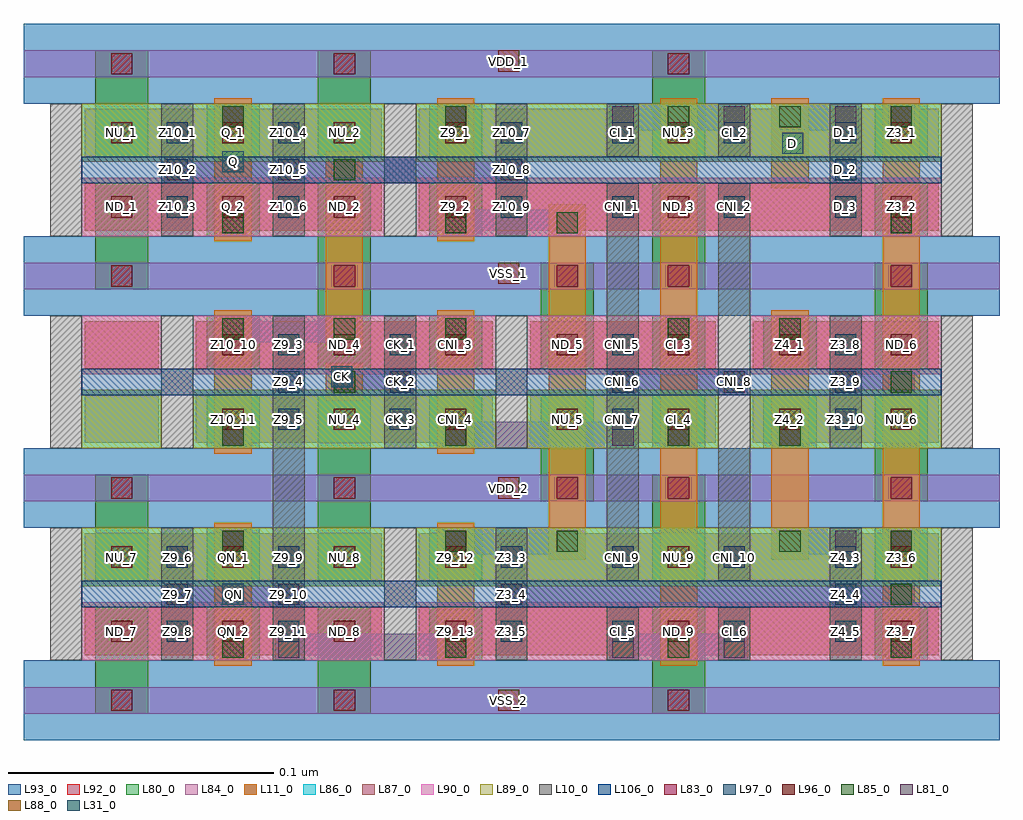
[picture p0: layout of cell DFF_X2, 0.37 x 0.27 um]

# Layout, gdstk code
import gdstk
lib = gdstk.Library(unit=1e-6, precision=1e-09)
def R(c, l, rs):  # rectangles x0, y0, x1, y1
    for r in rs: c.add(gdstk.rectangle(r[:2], r[2:], *l))
def A(c, l, x, y, w, h, nx, ny, dx, dy):  # array of equal rectangles
    R(c, l, [(x+i*dx, y+j*dy, x+i*dx+w, y+j*dy+h) for i in range(nx) for j in range(ny)])
L10_0 = (10, 0)
L11_0 = (11, 0)
L31_0 = (31, 0)
L80_0 = (80, 0)
L81_0 = (81, 0)
L83_0 = (83, 0)
L84_0 = (84, 0)
L85_0 = (85, 0)
L86_0 = (86, 0)
L87_0 = (87, 0)
L88_0 = (88, 0)
L89_0 = (89, 0)
L90_0 = (90, 0)
L92_0 = (92, 0)
L93_0 = (93, 0)
L96_0 = (96, 0)
L97_0 = (97, 0)
L106_0 = (106, 0)

dff_x2 = lib.new_cell('DFF_X2')
A(dff_x2, L10_0, 0.267, -0.145, 0.012, 0.05, 1, 3, 0, 0.08)
A(dff_x2, L10_0, 0.309, -0.145, 0.012, 0.05, 1, 3, 0, 0.08)
A(dff_x2, L10_0, -0.027, 0.015, 0.012, 0.05, 5, 1, 0.042, 0)
R(dff_x2, L10_0, [(-0.027,-0.145,-0.015,-0.095), (0.015,-0.145,0.027,-0.095), (0.057,-0.145,0.069,-0.015), (0.099,-0.145,0.111,-0.095), (0.141,-0.145,0.153,-0.095), (0.183,-0.145,0.195,-0.125), (0.225,-0.145,0.237,-0.125), (0.183,-0.115,0.195,0.035), (0.225,-0.115,0.237,0.035), (-0.027,-0.065,-0.015,-0.015), (0.015,-0.065,0.027,-0.015), (0.099,-0.065,0.111,-0.015), (0.141,-0.065,0.153,-0.015), (0.183,0.045,0.195,0.065), (0.225,0.045,0.237,0.065)])
A(dff_x2, L11_0, 0.035, -0.147, 0.014, 0.034, 4, 2, 0.084, 0.02)
A(dff_x2, L11_0, 0.161, -0.107, 0.014, 0.034, 4, 2, 0.042, 0.02)
A(dff_x2, L11_0, 0.119, -0.067, 0.014, 0.034, 5, 2, 0.042, 0.02)
A(dff_x2, L11_0, 0.203, -0.027, 0.014, 0.034, 1, 3, 0, 0.02)
A(dff_x2, L11_0, 0.287, -0.027, 0.014, 0.034, 1, 4, 0, 0.02)
A(dff_x2, L11_0, 0.035, 0.013, 0.014, 0.034, 3, 1, 0.042, 0)
A(dff_x2, L11_0, 0.035, 0.033, 0.014, 0.034, 3, 1, 0.084, 0)
R(dff_x2, L11_0, [(0.035,-0.067,0.049,-0.033), (0.035,-0.047,0.049,-0.013), (0.077,-0.047,0.091,-0.033), (0.077,-0.027,0.091,0.007), (0.161,-0.027,0.175,0.007), (0.077,-0.007,0.091,0.027), (0.161,-0.007,0.175,0.027), (0.245,0.033,0.259,0.067)])
R(dff_x2, L31_0, [(0.038,-0.124,0.046,-0.116), (0.079,-0.042,0.087,-0.034), (0.038,0.039,0.046,0.047), (0.249,0.046,0.257,0.054)])
A(dff_x2, L80_0, 0.074, -0.165, 0.02, 0.021, 1, 3, 0, 0.08)
A(dff_x2, L80_0, -0.01, -0.145, 0.02, 0.02, 4, 2, 0.042, 0.16)
A(dff_x2, L80_0, 0.074, -0.104, 0.02, 0.029, 1, 3, 0, 0.08)
A(dff_x2, L80_0, 0.032, -0.065, 0.02, 0.02, 7, 1, 0.042, 0)
R(dff_x2, L80_0, [(-0.01,-0.165,0.01,-0.144), (0.2,-0.165,0.22,-0.144), (0.2,-0.145,0.22,-0.125), (0.284,-0.145,0.304,-0.125), (-0.01,-0.115,0.01,-0.095), (-0.01,-0.115,0.01,-0.095), (0.032,-0.115,0.052,-0.095), (0.032,-0.115,0.052,-0.095), (0.074,-0.115,0.094,-0.095), (0.074,-0.115,0.094,-0.095), (0.116,-0.115,0.136,-0.095), (0.116,-0.115,0.136,-0.095), (0.2,-0.115,0.22,-0.095), (0.2,-0.115,0.22,-0.095), (0.284,-0.115,0.304,-0.095), (0.284,-0.115,0.304,-0.095), (-0.01,-0.104,0.01,-0.075), (0.2,-0.104,0.22,-0.075), (0.158,-0.085,0.178,-0.064), (0.284,-0.085,0.304,-0.064), (0.032,-0.035,0.052,-0.015), (0.032,-0.035,0.052,-0.015), (0.074,-0.035,0.094,-0.015), (0.074,-0.035,0.094,-0.015), (0.116,-0.035,0.136,-0.015), (0.116,-0.035,0.136,-0.015), (0.158,-0.035,0.178,-0.015), (0.158,-0.035,0.178,-0.015), (0.2,-0.035,0.22,-0.015), (0.2,-0.035,0.22,-0.015), (0.242,-0.035,0.262,-0.015), (0.242,-0.035,0.262,-0.015), (0.284,-0.035,0.304,-0.015), (0.284,-0.035,0.304,-0.015), (0.158,-0.024,0.178,0.005), (0.284,-0.024,0.304,0.005), (-0.01,-0.005,0.01,0.016), (0.2,-0.005,0.22,0.016), (0.2,0.015,0.22,0.035), (0.284,0.015,0.304,0.035), (-0.01,0.045,0.01,0.065), (-0.01,0.045,0.01,0.065), (0.032,0.045,0.052,0.065), (0.032,0.045,0.052,0.065), (0.074,0.045,0.094,0.065), (0.074,0.045,0.094,0.065), (0.116,0.045,0.136,0.065), (0.116,0.045,0.136,0.065), (0.2,0.045,0.22,0.065), (0.2,0.045,0.22,0.065), (0.284,0.045,0.304,0.065), (0.284,0.045,0.304,0.065), (-0.01,0.056,0.01,0.085), (0.2,0.056,0.22,0.085)])
A(dff_x2, L81_0, 0.185, -0.044, 0.008, 0.008, 3, 2, 0.042, 0.1)
R(dff_x2, L81_0, [(0.059,-0.144,0.067,-0.136), (0.185,-0.144,0.193,-0.136), (0.227,-0.144,0.235,-0.136), (0.017,-0.124,0.025,-0.116), (0.059,-0.124,0.067,-0.116), (0.143,-0.124,0.151,-0.116), (0.269,-0.104,0.277,-0.096), (0.185,-0.064,0.193,-0.056), (0.101,-0.044,0.109,-0.036), (0.017,0.036,0.025,0.044), (0.017,0.036,0.025,0.044), (0.059,0.036,0.067,0.044), (0.059,0.036,0.067,0.044), (0.143,0.036,0.151,0.044)])
A(dff_x2, L83_0, -0.004, -0.164, 0.008, 0.008, 1, 4, 0, 0.08)
A(dff_x2, L83_0, 0.206, -0.164, 0.008, 0.008, 1, 4, 0, 0.08)
A(dff_x2, L83_0, 0.038, -0.064, 0.008, 0.008, 3, 2, 0.084, 0.04)
R(dff_x2, L83_0, [(0.08,-0.164,0.088,-0.156), (0.038,-0.144,0.046,-0.136), (0.122,-0.144,0.13,-0.136), (0.29,-0.144,0.298,-0.136), (0.038,-0.104,0.046,-0.096), (0.122,-0.104,0.13,-0.096), (0.29,-0.104,0.298,-0.096), (0.08,-0.084,0.088,-0.076), (0.08,-0.084,0.088,-0.076), (0.164,-0.084,0.172,-0.076), (0.29,-0.084,0.298,-0.076), (0.248,-0.064,0.256,-0.056), (0.038,-0.024,0.046,-0.016), (0.248,-0.024,0.256,-0.016), (0.08,-0.004,0.088,0.004), (0.08,-0.004,0.088,0.004), (0.164,-0.004,0.172,0.004), (0.29,-0.004,0.298,0.004), (0.038,0.016,0.046,0.024), (0.038,0.016,0.046,0.024), (0.122,0.016,0.13,0.024), (0.29,0.016,0.298,0.024), (0.038,0.056,0.046,0.064), (0.038,0.056,0.046,0.064), (0.038,0.056,0.046,0.064), (0.038,0.056,0.046,0.064), (0.038,0.056,0.046,0.064), (0.038,0.056,0.046,0.064), (0.038,0.056,0.046,0.064), (0.122,0.056,0.13,0.064), (0.29,0.056,0.298,0.064), (0.08,0.076,0.088,0.084)])
A(dff_x2, L84_0, -0.037, -0.165, 0.368, 0.01, 1, 4, 0, 0.08)
A(dff_x2, L84_0, 0.037, -0.145, 0.01, 0.01, 1, 3, 0, 0.04)
A(dff_x2, L84_0, 0.058, -0.145, 0.031, 0.01, 3, 1, 0.021, 0)
A(dff_x2, L84_0, 0.142, -0.125, 0.031, 0.01, 7, 1, 0.021, 0)
A(dff_x2, L84_0, 0.121, -0.065, 0.031, 0.01, 3, 1, 0.021, 0)
A(dff_x2, L84_0, 0.016, 0.035, 0.031, 0.01, 6, 1, 0.021, 0)
R(dff_x2, L84_0, [(0.184,-0.145,0.215,-0.135), (0.205,-0.145,0.236,-0.135), (0.289,-0.145,0.299,-0.135), (0.016,-0.125,0.047,-0.115), (0.037,-0.125,0.068,-0.115), (0.121,-0.105,0.152,-0.095), (0.142,-0.105,0.173,-0.095), (0.247,-0.105,0.278,-0.095), (0.289,-0.105,0.299,-0.095), (0.205,-0.065,0.215,-0.055), (0.247,-0.065,0.257,-0.055), (0.079,-0.045,0.11,-0.035), (0.184,-0.045,0.236,-0.035), (0.268,-0.045,0.299,-0.035), (0.037,-0.025,0.068,-0.015), (0.058,-0.025,0.089,-0.015), (0.121,-0.025,0.131,-0.015), (0.205,-0.025,0.215,-0.015), (0.247,-0.025,0.257,-0.015), (0.037,0.015,0.047,0.025), (0.121,0.015,0.152,0.025), (0.142,0.015,0.173,0.025), (0.289,0.015,0.299,0.025), (0.037,0.055,0.047,0.065), (0.121,0.055,0.131,0.065), (0.184,0.055,0.215,0.065), (0.205,0.055,0.236,0.065), (0.247,0.055,0.278,0.065), (0.289,0.055,0.299,0.065)])
A(dff_x2, L85_0, 0.038, -0.144, 0.008, 0.008, 4, 1, 0.084, 0)
A(dff_x2, L85_0, 0.248, -0.104, 0.008, 0.008, 1, 3, 0, 0.04)
A(dff_x2, L85_0, 0.29, -0.104, 0.008, 0.008, 1, 3, 0, 0.06)
A(dff_x2, L85_0, 0.038, -0.064, 0.008, 0.008, 3, 2, 0.084, 0.12)
A(dff_x2, L85_0, 0.038, -0.024, 0.008, 0.008, 3, 1, 0.042, 0)
R(dff_x2, L85_0, [(0.29,-0.124,0.298,-0.116), (0.038,-0.104,0.046,-0.096), (0.122,-0.104,0.13,-0.096), (0.164,-0.104,0.172,-0.096), (0.08,-0.044,0.088,-0.036), (0.206,-0.024,0.214,-0.016), (0.038,0.016,0.046,0.024), (0.122,0.016,0.13,0.024), (0.164,0.016,0.172,0.024), (0.08,0.036,0.088,0.044), (0.248,0.056,0.256,0.064), (0.29,0.056,0.298,0.064)])
R(dff_x2, L86_0, [(-0.015,-0.117,0.099,-0.095), (0.111,-0.117,0.309,-0.095), (-0.015,-0.065,0.015,-0.043), (0.027,-0.065,0.141,-0.043), (0.153,-0.065,0.225,-0.043), (0.237,-0.065,0.309,-0.043), (-0.015,0.043,0.099,0.065), (0.111,0.043,0.309,0.065)])
R(dff_x2, L87_0, [(-0.015,-0.145,0.099,-0.123), (0.111,-0.145,0.309,-0.123), (-0.015,-0.037,0.015,-0.015), (0.027,-0.037,0.141,-0.015), (0.153,-0.037,0.225,-0.015), (0.237,-0.037,0.309,-0.015), (-0.015,0.015,0.099,0.037), (0.111,0.015,0.309,0.037)])
R(dff_x2, L88_0, [(0.142,-0.164,0.15,-0.156), (0.142,-0.084,0.15,-0.076), (0.142,-0.003,0.15,0.005), (0.142,0.077,0.15,0.085)])
R(dff_x2, L89_0, [(-0.015,-0.117,0.099,-0.095), (0.111,-0.117,0.309,-0.095), (-0.015,-0.065,0.015,-0.043), (0.027,-0.065,0.141,-0.043), (0.153,-0.065,0.225,-0.043), (0.237,-0.065,0.309,-0.043), (-0.015,0.043,0.099,0.065), (0.111,0.043,0.309,0.065)])
R(dff_x2, L90_0, [(-0.015,-0.145,0.099,-0.123), (0.111,-0.145,0.309,-0.123), (-0.015,-0.037,0.015,-0.015), (0.027,-0.037,0.141,-0.015), (0.153,-0.037,0.225,-0.015), (0.237,-0.037,0.309,-0.015), (-0.015,0.015,0.099,0.037), (0.111,0.015,0.309,0.037)])
R(dff_x2, L92_0, [(-0.014,-0.143,0.098,-0.125), (0.112,-0.143,0.308,-0.125), (-0.014,-0.115,0.098,-0.097), (0.112,-0.115,0.308,-0.097), (-0.014,-0.063,0.014,-0.045), (0.028,-0.063,0.14,-0.045), (0.154,-0.063,0.224,-0.045), (0.238,-0.063,0.308,-0.045), (-0.014,-0.035,0.014,-0.017), (0.028,-0.035,0.14,-0.017), (0.154,-0.035,0.224,-0.017), (0.238,-0.035,0.308,-0.017), (-0.014,0.017,0.098,0.035), (0.112,0.017,0.308,0.035), (-0.014,0.045,0.098,0.063), (0.112,0.045,0.308,0.063)])
A(dff_x2, L93_0, -0.037, -0.175, 0.368, 0.03, 1, 4, 0, 0.08)
A(dff_x2, L96_0, -0.004, -0.138, 0.008, 0.008, 4, 2, 0.042, 0.028)
A(dff_x2, L96_0, 0.038, -0.058, 0.008, 0.008, 7, 2, 0.042, 0.028)
A(dff_x2, L96_0, -0.004, 0.022, 0.008, 0.008, 4, 2, 0.042, 0.028)
R(dff_x2, L96_0, [(0.206,-0.138,0.214,-0.13), (0.29,-0.138,0.298,-0.13), (0.206,-0.11,0.214,-0.102), (0.29,-0.11,0.298,-0.102), (0.206,0.022,0.214,0.03), (0.29,0.022,0.298,0.03), (0.206,0.05,0.214,0.058), (0.29,0.05,0.298,0.058)])
A(dff_x2, L97_0, 0.017, -0.138, 0.008, 0.008, 1, 3, 0, 0.014)
A(dff_x2, L97_0, 0.059, -0.138, 0.008, 0.008, 1, 3, 0, 0.014)
A(dff_x2, L97_0, 0.143, -0.138, 0.008, 0.008, 4, 2, 0.042, 0.028)
A(dff_x2, L97_0, 0.059, -0.058, 0.008, 0.008, 1, 3, 0, 0.014)
A(dff_x2, L97_0, 0.101, -0.058, 0.008, 0.008, 3, 2, 0.084, 0.028)
A(dff_x2, L97_0, 0.185, -0.044, 0.008, 0.008, 3, 1, 0.042, 0)
A(dff_x2, L97_0, 0.017, 0.022, 0.008, 0.008, 1, 3, 0, 0.014)
A(dff_x2, L97_0, 0.059, 0.022, 0.008, 0.008, 1, 3, 0, 0.014)
A(dff_x2, L97_0, 0.143, 0.022, 0.008, 0.008, 4, 2, 0.042, 0.028)
R(dff_x2, L97_0, [(0.143,-0.124,0.151,-0.116), (0.269,-0.124,0.277,-0.116), (0.101,-0.044,0.109,-0.036), (0.143,0.036,0.151,0.044), (0.269,0.036,0.277,0.044)])
A(dff_x2, L106_0, -0.015, -0.125, 0.324, 0.01, 1, 3, 0, 0.08)
dff_x2.add(gdstk.Label('VDD_1', (0.146,0.081), layer=88, texttype=0))
dff_x2.add(gdstk.Label('VDD_2', (0.146,-0.08), layer=88, texttype=0))
dff_x2.add(gdstk.Label('VSS_2', (0.146,-0.16), layer=88, texttype=0))
dff_x2.add(gdstk.Label('VSS_1', (0.146,0.001), layer=88, texttype=0))
dff_x2.add(gdstk.Label('QN', (0.042,-0.12), layer=31, texttype=0))
dff_x2.add(gdstk.Label('Q', (0.042,0.043), layer=31, texttype=0))
dff_x2.add(gdstk.Label('CK', (0.083,-0.038), layer=31, texttype=0))
dff_x2.add(gdstk.Label('D', (0.253,0.05), layer=31, texttype=0))
dff_x2.add(gdstk.Label('Z3_7', (0.294,-0.134), layer=96, texttype=0))
dff_x2.add(gdstk.Label('Z3_6', (0.294,-0.106), layer=96, texttype=0))
dff_x2.add(gdstk.Label('ND_9', (0.21,-0.134), layer=96, texttype=0))
dff_x2.add(gdstk.Label('NU_9', (0.21,-0.106), layer=96, texttype=0))
dff_x2.add(gdstk.Label('Z9_12', (0.126,-0.106), layer=96, texttype=0))
dff_x2.add(gdstk.Label('Z9_13', (0.126,-0.134), layer=96, texttype=0))
dff_x2.add(gdstk.Label('NU_8', (0.084,-0.106), layer=96, texttype=0))
dff_x2.add(gdstk.Label('ND_8', (0.084,-0.134), layer=96, texttype=0))
dff_x2.add(gdstk.Label('ND_7', (0,-0.134), layer=96, texttype=0))
dff_x2.add(gdstk.Label('NU_7', (0,-0.106), layer=96, texttype=0))
dff_x2.add(gdstk.Label('QN_2', (0.042,-0.134), layer=96, texttype=0))
dff_x2.add(gdstk.Label('QN_1', (0.042,-0.106), layer=96, texttype=0))
dff_x2.add(gdstk.Label('Z10_10', (0.042,-0.026), layer=96, texttype=0))
dff_x2.add(gdstk.Label('Z10_11', (0.042,-0.054), layer=96, texttype=0))
dff_x2.add(gdstk.Label('NU_4', (0.084,-0.054), layer=96, texttype=0))
dff_x2.add(gdstk.Label('ND_4', (0.084,-0.026), layer=96, texttype=0))
dff_x2.add(gdstk.Label('CNI_4', (0.126,-0.054), layer=96, texttype=0))
dff_x2.add(gdstk.Label('CNI_3', (0.126,-0.026), layer=96, texttype=0))
dff_x2.add(gdstk.Label('ND_5', (0.168,-0.026), layer=96, texttype=0))
dff_x2.add(gdstk.Label('NU_5', (0.168,-0.054), layer=96, texttype=0))
dff_x2.add(gdstk.Label('CI_3', (0.21,-0.026), layer=96, texttype=0))
dff_x2.add(gdstk.Label('CI_4', (0.21,-0.054), layer=96, texttype=0))
dff_x2.add(gdstk.Label('Z4_2', (0.252,-0.054), layer=96, texttype=0))
dff_x2.add(gdstk.Label('Z4_1', (0.252,-0.026), layer=96, texttype=0))
dff_x2.add(gdstk.Label('NU_6', (0.294,-0.054), layer=96, texttype=0))
dff_x2.add(gdstk.Label('ND_6', (0.294,-0.026), layer=96, texttype=0))
dff_x2.add(gdstk.Label('NU_1', (0,0.054), layer=96, texttype=0))
dff_x2.add(gdstk.Label('ND_1', (0,0.026), layer=96, texttype=0))
dff_x2.add(gdstk.Label('Q_1', (0.042,0.054), layer=96, texttype=0))
dff_x2.add(gdstk.Label('Q_2', (0.042,0.026), layer=96, texttype=0))
dff_x2.add(gdstk.Label('ND_2', (0.084,0.026), layer=96, texttype=0))
dff_x2.add(gdstk.Label('NU_2', (0.084,0.054), layer=96, texttype=0))
dff_x2.add(gdstk.Label('Z9_2', (0.126,0.026), layer=96, texttype=0))
dff_x2.add(gdstk.Label('Z9_1', (0.126,0.054), layer=96, texttype=0))
dff_x2.add(gdstk.Label('NU_3', (0.21,0.054), layer=96, texttype=0))
dff_x2.add(gdstk.Label('ND_3', (0.21,0.026), layer=96, texttype=0))
dff_x2.add(gdstk.Label('Z3_1', (0.294,0.054), layer=96, texttype=0))
dff_x2.add(gdstk.Label('Z3_2', (0.294,0.026), layer=96, texttype=0))
dff_x2.add(gdstk.Label('Z4_5', (0.273,-0.134), layer=97, texttype=0))
dff_x2.add(gdstk.Label('Z4_3', (0.273,-0.106), layer=97, texttype=0))
dff_x2.add(gdstk.Label('Z4_4', (0.273,-0.12), layer=97, texttype=0))
dff_x2.add(gdstk.Label('CNI_10', (0.231,-0.106), layer=97, texttype=0))
dff_x2.add(gdstk.Label('CI_6', (0.231,-0.134), layer=97, texttype=0))
dff_x2.add(gdstk.Label('CNI_9', (0.189,-0.106), layer=97, texttype=0))
dff_x2.add(gdstk.Label('CI_5', (0.189,-0.134), layer=97, texttype=0))
dff_x2.add(gdstk.Label('Z3_5', (0.147,-0.134), layer=97, texttype=0))
dff_x2.add(gdstk.Label('Z3_3', (0.147,-0.106), layer=97, texttype=0))
dff_x2.add(gdstk.Label('Z3_4', (0.147,-0.12), layer=97, texttype=0))
dff_x2.add(gdstk.Label('Z9_8', (0.021,-0.134), layer=97, texttype=0))
dff_x2.add(gdstk.Label('Z9_6', (0.021,-0.106), layer=97, texttype=0))
dff_x2.add(gdstk.Label('Z9_7', (0.021,-0.12), layer=97, texttype=0))
dff_x2.add(gdstk.Label('Z9_10', (0.063,-0.12), layer=97, texttype=0))
dff_x2.add(gdstk.Label('Z9_9', (0.063,-0.106), layer=97, texttype=0))
dff_x2.add(gdstk.Label('Z9_11', (0.063,-0.134), layer=97, texttype=0))
dff_x2.add(gdstk.Label('Z9_4', (0.063,-0.04), layer=97, texttype=0))
dff_x2.add(gdstk.Label('Z9_3', (0.063,-0.026), layer=97, texttype=0))
dff_x2.add(gdstk.Label('Z9_5', (0.063,-0.054), layer=97, texttype=0))
dff_x2.add(gdstk.Label('CK_3', (0.105,-0.054), layer=97, texttype=0))
dff_x2.add(gdstk.Label('CK_1', (0.105,-0.026), layer=97, texttype=0))
dff_x2.add(gdstk.Label('CK_2', (0.105,-0.04), layer=97, texttype=0))
dff_x2.add(gdstk.Label('CNI_7', (0.189,-0.054), layer=97, texttype=0))
dff_x2.add(gdstk.Label('CNI_5', (0.189,-0.026), layer=97, texttype=0))
dff_x2.add(gdstk.Label('CNI_6', (0.189,-0.04), layer=97, texttype=0))
dff_x2.add(gdstk.Label('CNI_8', (0.231,-0.04), layer=97, texttype=0))
dff_x2.add(gdstk.Label('Z3_9', (0.273,-0.04), layer=97, texttype=0))
dff_x2.add(gdstk.Label('Z3_8', (0.273,-0.026), layer=97, texttype=0))
dff_x2.add(gdstk.Label('Z3_10', (0.273,-0.054), layer=97, texttype=0))
dff_x2.add(gdstk.Label('Z10_3', (0.021,0.026), layer=97, texttype=0))
dff_x2.add(gdstk.Label('Z10_2', (0.021,0.04), layer=97, texttype=0))
dff_x2.add(gdstk.Label('Z10_1', (0.021,0.054), layer=97, texttype=0))
dff_x2.add(gdstk.Label('Z10_6', (0.063,0.026), layer=97, texttype=0))
dff_x2.add(gdstk.Label('Z10_4', (0.063,0.054), layer=97, texttype=0))
dff_x2.add(gdstk.Label('Z10_5', (0.063,0.04), layer=97, texttype=0))
dff_x2.add(gdstk.Label('Z10_7', (0.147,0.054), layer=97, texttype=0))
dff_x2.add(gdstk.Label('Z10_8', (0.147,0.04), layer=97, texttype=0))
dff_x2.add(gdstk.Label('Z10_9', (0.147,0.026), layer=97, texttype=0))
dff_x2.add(gdstk.Label('CI_1', (0.189,0.054), layer=97, texttype=0))
dff_x2.add(gdstk.Label('CNI_1', (0.189,0.026), layer=97, texttype=0))
dff_x2.add(gdstk.Label('CNI_2', (0.231,0.026), layer=97, texttype=0))
dff_x2.add(gdstk.Label('CI_2', (0.231,0.054), layer=97, texttype=0))
dff_x2.add(gdstk.Label('D_3', (0.273,0.026), layer=97, texttype=0))
dff_x2.add(gdstk.Label('D_1', (0.273,0.054), layer=97, texttype=0))
dff_x2.add(gdstk.Label('D_2', (0.273,0.04), layer=97, texttype=0))

lib.write_gds('DFF_X2.gds')
